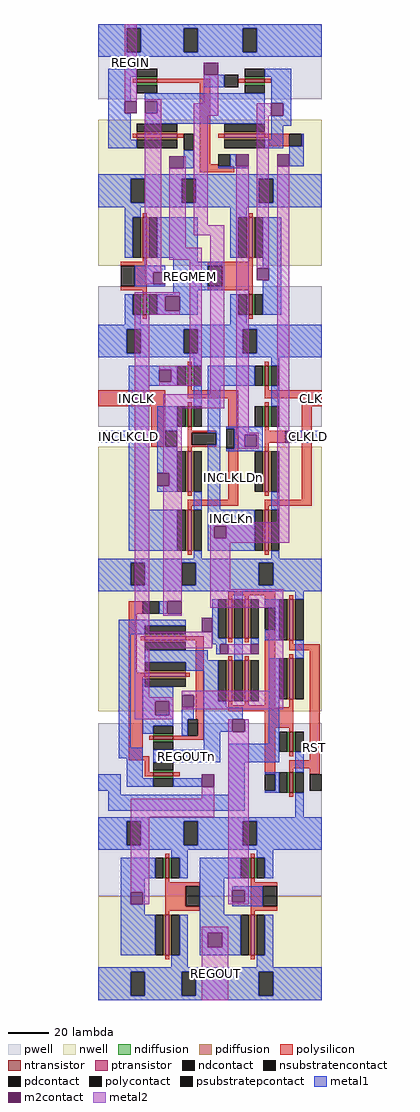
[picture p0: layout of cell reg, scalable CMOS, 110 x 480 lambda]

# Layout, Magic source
magic
tech scmos
<< pwell >>
rect -18 242 92 279
rect -18 81 92 150
rect -18 -150 92 -65
<< nwell >>
rect -18 160 92 232
rect -18 -59 92 71
rect -18 -201 92 -150
<< polysilicon >>
rect -1 250 1 252
rect 11 250 37 252
rect -1 223 1 225
rect 21 223 24 225
rect 32 210 37 250
rect 51 250 54 252
rect 64 250 67 252
rect 41 223 44 225
rect 64 223 76 225
rect 66 219 76 223
rect 82 219 83 225
rect 32 209 41 210
rect 32 206 49 209
rect 4 184 6 186
rect 56 184 58 186
rect 4 162 6 164
rect 56 162 58 164
rect -7 160 6 162
rect 0 150 6 160
rect -7 148 6 150
rect 36 160 58 162
rect 43 150 58 160
rect 36 148 58 150
rect 4 146 6 148
rect 56 146 58 148
rect 4 134 6 136
rect 56 134 58 136
rect 26 111 28 113
rect 64 111 66 113
rect 26 99 28 101
rect 64 99 66 101
rect -18 91 15 99
rect 26 95 51 99
rect 64 95 92 99
rect 26 91 28 93
rect 8 71 15 91
rect 26 79 28 81
rect 46 80 51 95
rect 64 91 66 93
rect 82 91 92 95
rect 26 78 40 79
rect 26 72 28 78
rect 26 71 40 72
rect 26 69 28 71
rect 49 70 51 80
rect 26 47 28 49
rect 46 45 51 70
rect 64 79 66 81
rect 64 73 74 79
rect 64 69 66 73
rect 64 47 66 49
rect 82 45 87 91
rect 26 42 51 45
rect 64 42 87 45
rect 26 40 28 42
rect 64 40 66 42
rect 26 18 28 20
rect 64 18 66 20
rect 46 -2 69 0
rect 46 -4 48 -2
rect 54 -4 56 -2
rect -3 -11 4 -5
rect -3 -40 1 -11
rect 3 -24 5 -22
rect 25 -24 34 -22
rect 64 -8 69 -2
rect 76 -4 78 -2
rect -3 -42 5 -40
rect 25 -42 27 -40
rect -3 -81 4 -42
rect 30 -63 34 -24
rect 46 -25 48 -23
rect 54 -25 56 -23
rect 46 -34 48 -32
rect 54 -34 56 -32
rect 46 -56 48 -54
rect 54 -56 56 -54
rect 64 -56 69 -19
rect 76 -26 78 -24
rect 76 -29 91 -26
rect 76 -33 78 -31
rect 46 -57 69 -56
rect 76 -57 78 -53
rect 46 -59 78 -57
rect 31 -71 34 -63
rect 7 -73 9 -71
rect 19 -73 34 -71
rect 64 -67 78 -59
rect -3 -83 7 -81
rect 5 -89 7 -83
rect 5 -91 9 -89
rect 19 -91 22 -89
rect 64 -90 69 -67
rect 76 -69 78 -67
rect 76 -81 78 -79
rect 86 -83 91 -29
rect 76 -87 91 -83
rect 76 -89 78 -87
rect 86 -90 91 -87
rect 76 -101 78 -99
rect 15 -131 17 -129
rect 57 -131 59 -129
rect 15 -143 17 -141
rect 57 -143 59 -141
rect 15 -145 32 -143
rect 15 -155 25 -145
rect 15 -157 32 -155
rect 57 -145 70 -143
rect 57 -155 63 -145
rect 57 -157 70 -155
rect 15 -159 17 -157
rect 57 -159 59 -157
rect 15 -181 17 -179
rect 57 -181 59 -179
<< ndiffusion >>
rect 1 252 11 253
rect 1 249 11 250
rect 54 252 64 253
rect 54 249 64 250
rect 3 136 4 146
rect 6 136 7 146
rect 55 136 56 146
rect 58 136 59 146
rect 25 101 26 111
rect 28 101 29 111
rect 63 101 64 111
rect 66 101 67 111
rect 25 81 26 91
rect 28 81 29 91
rect 63 81 64 91
rect 66 81 67 91
rect 9 -71 19 -70
rect 9 -74 19 -73
rect 9 -89 19 -88
rect 75 -79 76 -69
rect 78 -79 79 -69
rect 9 -92 19 -91
rect 75 -99 76 -89
rect 78 -99 79 -89
rect 14 -141 15 -131
rect 17 -141 18 -131
rect 56 -141 57 -131
rect 59 -141 60 -131
<< pdiffusion >>
rect 1 225 21 226
rect 1 222 21 223
rect 44 225 64 226
rect 44 222 64 223
rect 3 164 4 184
rect 6 164 7 184
rect 55 164 56 184
rect 58 164 59 184
rect 25 49 26 69
rect 28 49 29 69
rect 63 49 64 69
rect 66 49 67 69
rect 25 20 26 40
rect 28 20 29 40
rect 63 20 64 40
rect 66 20 67 40
rect 5 -22 25 -21
rect 45 -23 46 -4
rect 48 -23 49 -4
rect 53 -23 54 -4
rect 56 -23 57 -4
rect 5 -25 25 -24
rect 5 -40 25 -39
rect 5 -43 25 -42
rect 45 -54 46 -34
rect 48 -54 49 -34
rect 53 -54 54 -34
rect 56 -54 57 -34
rect 75 -24 76 -4
rect 78 -24 79 -4
rect 75 -53 76 -33
rect 78 -53 79 -33
rect 14 -179 15 -159
rect 17 -179 18 -159
rect 56 -179 57 -159
rect 59 -179 60 -159
<< metal1 >>
rect -18 277 92 279
rect -18 265 -4 277
rect 3 265 24 277
rect 31 265 53 277
rect 60 265 92 277
rect -18 263 92 265
rect -13 253 1 257
rect -13 241 -2 253
rect 34 248 44 254
rect 64 253 77 257
rect 5 241 64 245
rect -13 235 -5 241
rect 11 235 64 241
rect -13 222 -2 235
rect 5 230 64 235
rect 67 240 77 253
rect 73 234 77 240
rect 67 229 77 234
rect -13 218 1 222
rect 67 222 73 229
rect 64 218 73 222
rect 82 219 83 225
rect 24 208 29 217
rect 47 209 50 215
rect 76 209 83 219
rect 41 208 56 209
rect -18 203 92 205
rect -18 191 -2 203
rect 5 191 23 203
rect 30 191 61 203
rect 68 191 92 203
rect -18 189 92 191
rect -5 184 3 189
rect 47 184 55 189
rect -5 164 -1 184
rect 11 164 31 184
rect 47 164 51 184
rect 19 162 31 164
rect 19 160 43 162
rect 0 157 15 160
rect 0 151 9 157
rect 0 150 15 151
rect 19 150 36 160
rect 63 159 72 184
rect 66 153 72 159
rect 19 148 43 150
rect 19 146 31 148
rect -5 136 -1 146
rect 11 145 31 146
rect 11 138 15 145
rect 22 138 31 145
rect 11 136 31 138
rect 47 136 51 146
rect 63 136 72 153
rect -5 131 3 136
rect 47 131 55 136
rect -18 129 92 131
rect -18 117 -4 129
rect 3 117 24 129
rect 31 117 53 129
rect 60 117 92 129
rect -18 115 92 117
rect 29 111 33 115
rect 67 111 71 115
rect -3 109 21 111
rect -3 103 12 109
rect 18 103 21 109
rect -3 101 21 103
rect -3 79 7 101
rect 29 91 33 101
rect -18 73 7 79
rect -3 40 7 73
rect 11 79 21 91
rect 36 101 59 111
rect 11 71 15 79
rect 36 78 42 101
rect 67 91 71 101
rect 40 72 42 78
rect 11 58 21 71
rect 17 52 21 58
rect 11 49 21 52
rect 29 40 33 49
rect -3 20 21 40
rect 36 40 42 72
rect 45 80 63 81
rect 49 77 63 80
rect 49 71 54 77
rect 60 71 63 77
rect 79 73 92 79
rect 49 70 63 71
rect 45 69 63 70
rect 67 40 71 49
rect 36 32 59 40
rect 36 26 39 32
rect 45 26 59 32
rect 36 20 59 26
rect 29 16 33 20
rect 67 16 71 20
rect -18 14 92 16
rect -18 3 -2 14
rect 5 3 23 14
rect 30 3 61 14
rect 68 3 92 14
rect -18 0 92 3
rect 49 -4 53 0
rect 79 -4 83 0
rect 12 -11 16 -5
rect -8 -17 25 -14
rect -8 -21 5 -17
rect -8 -77 -2 -21
rect 38 -23 41 -4
rect 38 -26 45 -23
rect 5 -34 36 -29
rect 40 -31 42 -26
rect 49 -34 53 -23
rect 57 -26 61 -23
rect 64 -8 71 -4
rect 69 -19 71 -8
rect 64 -24 71 -19
rect 79 -33 83 -24
rect 5 -35 41 -34
rect 25 -39 41 -35
rect 4 -47 5 -43
rect 4 -54 19 -47
rect 4 -61 10 -54
rect 17 -61 19 -54
rect 4 -66 19 -61
rect 4 -70 9 -66
rect 23 -63 29 -57
rect 34 -54 41 -39
rect 34 -57 45 -54
rect 34 -63 53 -57
rect 23 -71 26 -63
rect 34 -69 48 -63
rect -8 -82 4 -77
rect -18 -98 -7 -90
rect -4 -92 4 -82
rect 34 -78 42 -69
rect 66 -75 71 -33
rect 9 -84 42 -78
rect 46 -84 71 -75
rect -4 -96 9 -92
rect 19 -96 33 -92
rect -13 -100 -7 -98
rect 46 -100 54 -84
rect 79 -89 83 -79
rect 64 -90 71 -89
rect 69 -98 71 -90
rect 64 -99 71 -98
rect -13 -108 54 -100
rect 79 -111 83 -99
rect -18 -113 92 -111
rect -18 -125 -4 -113
rect 3 -125 24 -113
rect 31 -125 53 -113
rect 60 -125 92 -113
rect -18 -127 92 -125
rect 18 -131 26 -127
rect 60 -131 68 -127
rect -7 -141 10 -131
rect 22 -141 26 -131
rect 32 -141 52 -131
rect 64 -141 68 -131
rect -7 -148 5 -141
rect -7 -154 -2 -148
rect 4 -154 5 -148
rect -7 -159 5 -154
rect 32 -159 44 -141
rect 48 -147 63 -145
rect 54 -153 63 -147
rect 48 -155 63 -153
rect -7 -179 10 -159
rect 22 -179 26 -159
rect 32 -168 52 -159
rect 32 -175 36 -168
rect 43 -175 52 -168
rect 32 -179 52 -175
rect 64 -179 68 -159
rect 18 -185 26 -179
rect 60 -185 68 -179
rect -18 -187 92 -185
rect -18 -199 -2 -187
rect 5 -199 23 -187
rect 30 -199 61 -187
rect 68 -199 92 -187
rect -18 -201 92 -199
<< metal2 >>
rect -5 241 1 279
rect 5 241 13 242
rect 11 235 13 241
rect 34 240 41 254
rect 5 157 13 235
rect 29 234 41 240
rect 60 234 67 240
rect 24 208 25 214
rect 17 169 25 208
rect 29 180 36 234
rect 29 175 44 180
rect 17 163 33 169
rect 5 151 9 157
rect 0 145 22 147
rect 0 138 15 145
rect 0 136 22 138
rect 0 -20 7 136
rect 27 111 33 163
rect 12 109 33 111
rect 18 103 33 109
rect 12 101 33 103
rect 37 97 44 175
rect 14 90 44 97
rect 14 58 23 90
rect 50 78 56 209
rect 60 159 66 234
rect 50 77 61 78
rect 51 71 54 77
rect 60 71 61 77
rect 51 70 61 71
rect 17 52 23 58
rect 14 -5 23 52
rect 70 34 76 209
rect 14 -11 16 -5
rect 37 32 76 34
rect 37 26 39 32
rect 45 26 76 32
rect 37 24 76 26
rect 37 1 47 24
rect 37 -8 73 1
rect 14 -12 23 -11
rect 0 -28 38 -20
rect 0 -52 7 -28
rect 46 -31 57 -26
rect 66 -49 73 -8
rect 23 -51 73 -49
rect 0 -54 19 -52
rect 0 -61 10 -54
rect 17 -61 19 -54
rect 29 -57 73 -51
rect 23 -58 73 -57
rect 0 -63 19 -61
rect 46 -69 48 -63
rect 54 -69 56 -63
rect 33 -102 39 -96
rect -2 -111 39 -102
rect -2 -148 7 -111
rect 4 -154 7 -148
rect 46 -147 56 -69
rect 46 -153 48 -147
rect 54 -153 56 -147
rect 46 -154 56 -153
rect 33 -168 46 -165
rect 33 -175 36 -168
rect 43 -175 46 -168
rect 33 -201 46 -175
<< ntransistor >>
rect 1 250 11 252
rect 54 250 64 252
rect 4 136 6 146
rect 56 136 58 146
rect 26 101 28 111
rect 64 101 66 111
rect 26 81 28 91
rect 64 81 66 91
rect 9 -73 19 -71
rect 9 -91 19 -89
rect 76 -79 78 -69
rect 76 -99 78 -89
rect 15 -141 17 -131
rect 57 -141 59 -131
<< ptransistor >>
rect 1 223 21 225
rect 44 223 64 225
rect 4 164 6 184
rect 56 164 58 184
rect 26 49 28 69
rect 64 49 66 69
rect 26 20 28 40
rect 64 20 66 40
rect 5 -24 25 -22
rect 46 -23 48 -4
rect 54 -23 56 -4
rect 5 -42 25 -40
rect 46 -54 48 -34
rect 54 -54 56 -34
rect 76 -24 78 -4
rect 76 -53 78 -33
rect 15 -179 17 -159
rect 57 -179 59 -159
<< polycontact >>
rect 24 217 29 225
rect 44 248 51 254
rect 76 219 82 225
rect 41 209 47 215
rect -7 150 0 160
rect 36 150 43 160
rect 15 71 21 79
rect 28 72 40 78
rect 45 70 49 80
rect 74 73 79 79
rect 4 -11 12 -5
rect 64 -19 69 -8
rect 26 -71 31 -63
rect 64 -98 69 -90
rect 86 -98 92 -90
rect 25 -155 32 -145
rect 63 -155 70 -145
<< ndcontact >>
rect 1 253 11 257
rect 1 245 11 249
rect 54 253 64 257
rect 54 245 64 249
rect -1 136 3 146
rect 7 136 11 146
rect 51 136 55 146
rect 59 136 63 146
rect 21 101 25 111
rect 29 101 33 111
rect 59 101 63 111
rect 67 101 71 111
rect 21 81 25 91
rect 29 81 33 91
rect 59 81 63 91
rect 67 81 71 91
rect 9 -70 19 -66
rect 9 -78 19 -74
rect 9 -88 19 -84
rect 71 -79 75 -69
rect 79 -79 83 -69
rect 9 -96 19 -92
rect 71 -99 75 -89
rect 79 -99 83 -89
rect 10 -141 14 -131
rect 18 -141 22 -131
rect 52 -141 56 -131
rect 60 -141 64 -131
<< pdcontact >>
rect 1 226 21 230
rect 1 218 21 222
rect 44 226 64 230
rect 44 218 64 222
rect -1 164 3 184
rect 7 164 11 184
rect 51 164 55 184
rect 59 164 63 184
rect 21 49 25 69
rect 29 49 33 69
rect 59 49 63 69
rect 67 49 71 69
rect 21 20 25 40
rect 29 20 33 40
rect 59 20 63 40
rect 67 20 71 40
rect 5 -21 25 -17
rect 41 -23 45 -4
rect 49 -23 53 -4
rect 57 -23 61 -4
rect 5 -29 25 -25
rect 5 -39 25 -35
rect 5 -47 25 -43
rect 41 -54 45 -34
rect 49 -54 53 -34
rect 57 -54 61 -34
rect 71 -24 75 -4
rect 79 -24 83 -4
rect 71 -53 75 -33
rect 79 -53 83 -33
rect 10 -179 14 -159
rect 18 -179 22 -159
rect 52 -179 56 -159
rect 60 -179 64 -159
<< m2contact >>
rect 34 254 41 260
rect -5 235 1 241
rect 5 235 11 241
rect 67 234 73 240
rect 17 208 24 214
rect 50 209 56 215
rect 70 209 76 215
rect 9 151 15 157
rect 60 153 66 159
rect 15 138 22 145
rect 12 103 18 109
rect 11 52 17 58
rect 54 71 60 77
rect 39 26 45 32
rect 16 -11 23 -5
rect 33 -20 38 -13
rect 42 -31 46 -26
rect 57 -31 61 -26
rect 10 -61 17 -54
rect 23 -57 29 -51
rect 48 -69 54 -63
rect 33 -96 39 -90
rect -2 -154 4 -148
rect 48 -153 54 -147
rect 36 -175 43 -168
<< psubstratepcontact >>
rect -4 265 3 277
rect 24 265 31 277
rect 53 265 60 277
rect -4 117 3 129
rect 24 117 31 129
rect 53 117 60 129
rect -4 -125 3 -113
rect 24 -125 31 -113
rect 53 -125 60 -113
<< nsubstratencontact >>
rect -2 191 5 203
rect 23 191 30 203
rect 61 191 68 203
rect -2 3 5 14
rect 23 3 30 14
rect 61 3 68 14
rect -2 -199 5 -187
rect 23 -199 30 -187
rect 61 -199 68 -187
<< labels >>
rlabel metal1 19 148 36 162 0 REGMEM
rlabel polysilicon 46 42 51 70 0 INCLKLDn
rlabel metal1 36 32 59 40 0 INCLKn
rlabel metal1 79 73 92 79 0 CLKLD
rlabel polysilicon 82 91 92 99 0 CLK
rlabel metal1 -13 73 7 79 0 INCLKCLD
rlabel polysilicon -13 91 15 99 0 INCLK
rlabel metal2 33 -201 46 -175 0 REGOUT
rlabel metal2 -5 241 1 279 0 REGIN
rlabel metal1 9 -84 42 -78 0 REGOUTn
rlabel polysilicon 86 -87 91 -67 0 RST
<< end >>
